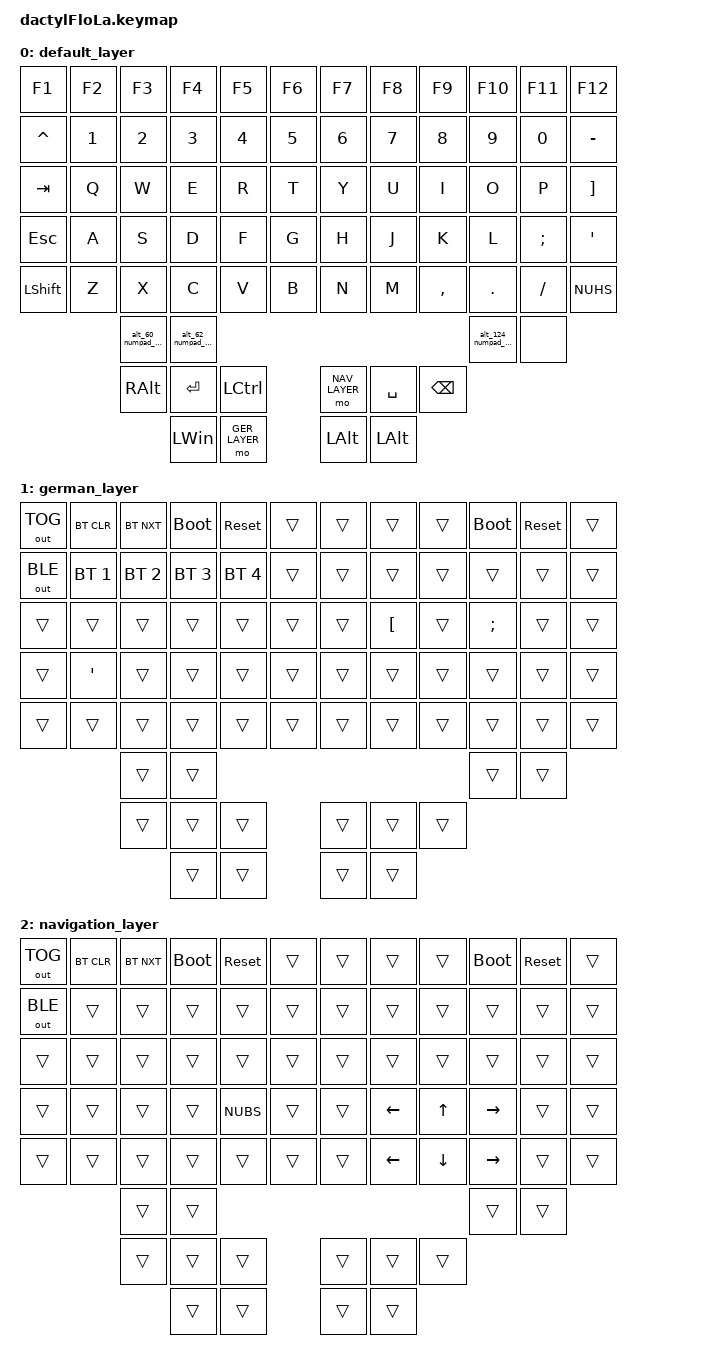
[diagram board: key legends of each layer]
/*
 * Copyright (c) 2020 The ZMK Contributors
 *
 * SPDX-License-Identifier: MIT
 */

#include <behaviors.dtsi>
#include <dt-bindings/zmk/keys.h>
#include <dt-bindings/zmk/bt.h>
#include <dt-bindings/zmk/outputs.h>

#define DEFAULT 0
#define GER_LAYER   1
#define NAV_LAYER   2


/ {
        macros {        
        alt_60_numpad_macro: alt_60_numpad_macro {
            label = "Smaller_than";
            compatible = "zmk,behavior-macro";
            #binding-cells = <0>;
            bindings
                = <&macro_press &kp LALT>
                , <&macro_tap &kp KP_N6 &kp KP_N0>
                , <&macro_release &kp LALT>
                ;
        };       
        alt_62_numpad_macro: alt_62_numpad_macro {
            label = "Greater_than";
            compatible = "zmk,behavior-macro";
            #binding-cells = <0>;
            bindings
                = <&macro_press &kp LALT>
                , <&macro_tap &kp KP_N6 &kp KP_N2>
                , <&macro_release &kp LALT>
                ;
        };
        alt_124_numpad_macro: alt_124_numpad_macro {
            label = "Pipe";
            compatible = "zmk,behavior-macro";
            #binding-cells = <0>;
            bindings
                = <&macro_press &kp LALT>
                , <&macro_tap &kp KP_N1 &kp KP_N2 &kp KP_N4>
                , <&macro_release &kp LALT>
                ;
        };
};
};



/ {
        keymap {
                compatible = "zmk,keymap";

                default_layer {
                        bindings = <
&kp  F1       &kp  F2       &kp  F3       &kp  F4       &kp  F5       &kp  F6                 &kp  F7       &kp  F8       &kp  F9       &kp  F10      &kp  F11        &kp  F12
&kp  CARET    &kp  N1       &kp  N2       &kp  N3       &kp  N4       &kp  N5                 &kp  N6       &kp  N7       &kp  N8       &kp  N9       &kp  N0         &kp  MINUS
&kp  TAB      &kp  Q        &kp  W        &kp  E        &kp  R        &kp  T                  &kp  Y        &kp  U        &kp  I        &kp  O        &kp  P          &kp  RIGHT_BRACKET
&kp  ESC      &kp  A        &kp  S        &kp  D        &kp  F        &kp  G                  &kp  H        &kp  J        &kp  K        &kp  L        &kp  SEMICOLON  &kp  SINGLE_QUOTE
&kp  LSHFT    &kp  Z        &kp  X        &kp  C        &kp  V        &kp  B                  &kp  N        &kp  M        &kp  COMMA    &kp  DOT      &kp  SLASH      &kp  NUHS
                        &alt_60_numpad_macro &alt_62_numpad_macro                                                               &alt_124_numpad_macro  &none
                                &kp  RIGHT_ALT &kp  RETURN &kp  LEFT_CONTROL                  &mo  NAV_LAYER &kp  SPACE &kp  BACKSPACE
                                        &kp LEFT_WIN &mo  GER_LAYER                             &kp  LEFT_ALT &kp  LEFT_ALT
                        >;
                };
                german_layer {
                        bindings = <
&out OUT_TOG  &bt  BT_CLR   &bt  BT_NXT   &bootloader   &sys_reset    &trans                  &trans        &trans        &trans        &bootloader   &sys_reset    &trans
&out OUT_BLE  &bt BT_SEL 1  &bt BT_SEL 2  &bt BT_SEL 3  &bt BT_SEL 4  &trans                  &trans        &trans        &trans        &trans        &trans        &trans
&trans        &trans        &trans        &trans        &trans        &trans                  &trans     &kp LEFT_BRACKET &trans        &kp SEMICOLON &trans        &trans
&trans        &kp  SINGLE_QUOTE &trans        &trans        &trans        &trans                  &trans        &trans        &trans        &trans        &trans        &trans
&trans        &trans        &trans        &trans        &trans        &trans                  &trans        &trans        &trans        &trans        &trans        &trans
                            &trans        &trans                                                            &trans        &trans
                                        &trans   &trans   &trans                                         &trans   &trans   &trans
                                                &trans  &trans                                          &trans  &trans
                        >;
                };
                navigation_layer {
                        bindings = <
&out OUT_TOG  &bt  BT_CLR   &bt  BT_NXT   &bootloader   &sys_reset    &trans                  &trans        &trans        &trans        &bootloader   &sys_reset    &trans
&out OUT_BLE  &trans        &trans        &trans        &trans        &trans                  &trans        &trans        &trans        &trans        &trans        &trans
&trans        &trans        &trans        &trans        &trans        &trans                  &trans        &trans        &trans        &trans        &trans        &trans
&trans        &trans        &trans        &trans        &kp  NUBS     &trans                  &trans        &kp LEFT_ARROW &kp UP_ARROW  &kp RIGHT_ARROW &trans        &trans
&trans        &trans        &trans        &trans        &trans        &trans                  &trans    &kp LEFT_ARROW &kp DOWN_ARROW &kp RIGHT_ARROW &trans        &trans
                            &trans        &trans                                                            &trans        &trans
                                        &trans   &trans   &trans                                         &trans   &trans   &trans
                                                &trans  &trans                                          &trans  &trans
                        >;
                };
        };
};

